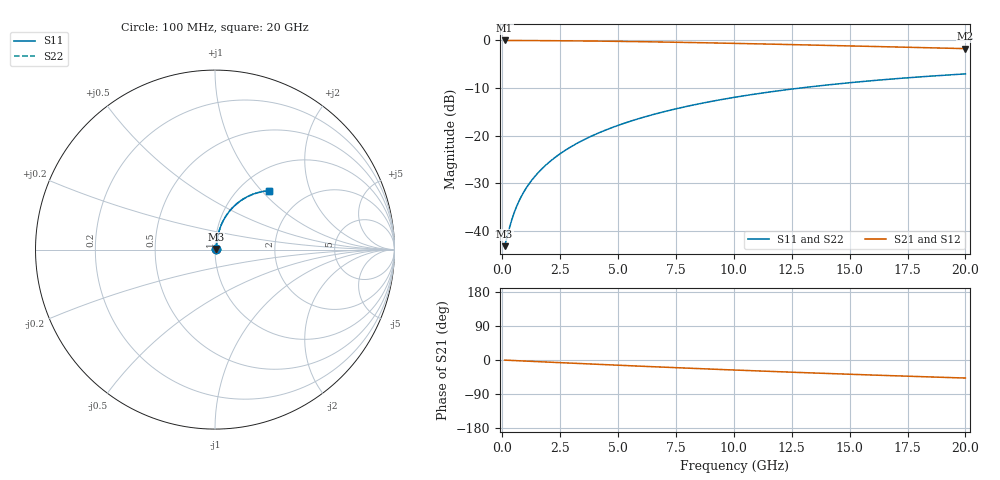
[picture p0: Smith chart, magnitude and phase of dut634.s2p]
! Touchstone file exported from HFSS 2024.1.0
!  File:  C:/UserFiles/LocalFiles/RDL_TSV_Batchsim/temp_RDL_bottom_634_1779784615.aedt
!  Generated:  04:39:30 PM May 26, 2026
!  Design:  RDL_bottom
!  Project:  temp_RDL_bottom_634_1779784615
!  Setup:  Setup1
!  Solution:  Sweep
! Variables:
!  dtsv = 10.80580581um
!  hbump = 3um
!  htsv = 96.78um
!  ldown = 684.98um
!  lrdl = 100um
!  p = 40
!  p1 = 40.7um
!  rhole = 1um
!  t = 450um
!  tdown = 2.42um
!  trdl = 3.915915916um
!  wdown = 16.18um
!  wrdl = 20um
# GHz S MA R 50.000000
! Terminal data exported
! Port[1] = RDL1_T1
! Port[2] = RDL1_T2
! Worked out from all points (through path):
!   200 points, 100 MHz to 20 GHz, reference 50 ohm
!   highest |S21| = -0.06 dB at 100 MHz (marker M1); lowest = -1.8 dB at 20 GHz (marker M2)
!   group delay of S21, straight-line fit = 6.61 ps
!   lowest |S11| = -43.2 dB at 100 MHz (marker M3), VSWR 1.01, Z = 50.6 + j0.281 ohm
!   |S11| at or under -10 dB: start of sweep to 12.92 GHz
!   |S22| runs from -43.2 to -7.1 dB; largest |S21 - S12| = 3.5e-15
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0.1  0.006927 23.6  0.9937 -0.3  0.9937 -0.3  0.006927 23.6
! Gamma 0 0 0 0
! Port Impedance 50 0 50 0
0.4  0.01286 57.6  0.9931 -1.2  0.9931 -1.2  0.01286 57.6
0.5  0.01524 62.1  0.9929 -1.5  0.9929 -1.5  0.01524 62.1
0.6  0.01764 65.3  0.9926 -1.7  0.9926 -1.7  0.01764 65.3
0.7  0.02006 67.6  0.9924 -2.0  0.9924 -2.0  0.02006 67.6
0.9  0.02492 70.9  0.9919 -2.6  0.9919 -2.6  0.02492 70.9
1.2  0.03225 73.9  0.9911 -3.4  0.9911 -3.4  0.03225 73.9
1.4  0.03716 75.2  0.9906 -4.0  0.9906 -4.0  0.03716 75.3
1.7  0.04458 76.6  0.9897 -4.8  0.9897 -4.8  0.04458 76.6
2.2  0.05704 77.8  0.988 -6.2  0.988 -6.2  0.05705 77.8
2.8  0.07212 78.2  0.9856 -7.8  0.9856 -7.8  0.07213 78.2
3.5  0.08983 78.1  0.9821 -9.8  0.9821 -9.8  0.08983 78.1
4.2  0.1076 77.5  0.978 -11.7  0.978 -11.7  0.1076 77.5
5  0.1279 76.6  0.9726 -13.8  0.9726 -13.8  0.1279 76.6
5.9  0.1507 75.2  0.9657 -16.2  0.9657 -16.2  0.1507 75.2
6.8  0.1734 73.7  0.9581 -18.5  0.9581 -18.5  0.1734 73.7
8.4  0.213 70.7  0.9431 -22.5  0.9431 -22.5  0.213 70.7
10.1  0.2535 67.2  0.9257 -26.7  0.9257 -26.7  0.2536 67.2
11.7  0.2899 63.9  0.9083 -30.4  0.9083 -30.4  0.29 63.9
13.4  0.3263 60.4  0.8893 -34.2  0.8893 -34.2  0.3264 60.5
16.7  0.3897 53.8  0.852 -41.2  0.852 -41.2  0.3898 53.9
20  0.4432 47.7  0.8158 -47.6  0.8158 -47.6  0.4433 47.7
